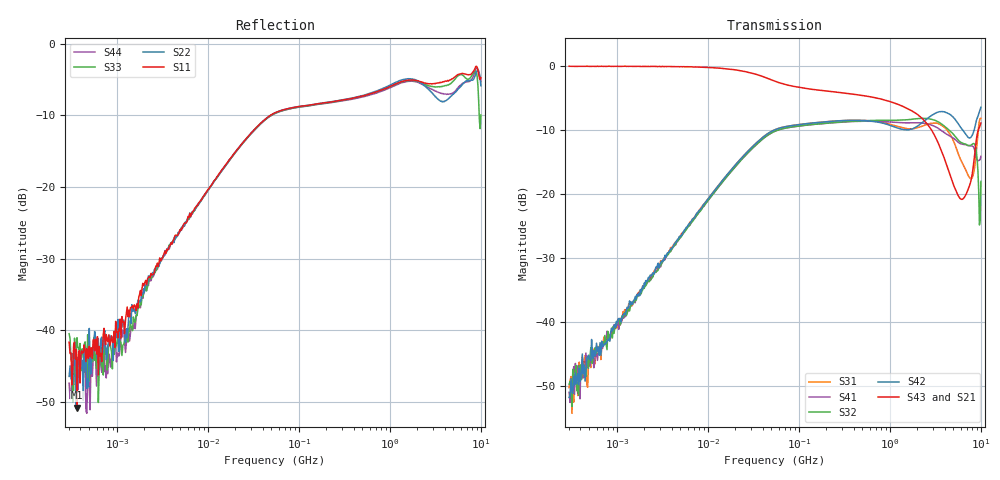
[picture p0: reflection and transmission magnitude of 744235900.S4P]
! This data is being provided by Wuerth Elektronik eiSos GmbH & Co. KG to the industry for analysis.
! Document information:
! Version:rev19a Date: 16/12/2019
! Component information:
! Match Code: WE-CNSW P/N: 744235900 Size: 1812
! Disclaimer:  While Würth Elektronik eiSos has made every reasonable effort to ensure the accuracy
! of the information provided, Würth Elektronik eiSos does not guarantee the exemption of error on the
! data collection measurements, nor does Würth Elektronik eiSos guarantee that the information is current.
! Würth Elektronik eiSos reserves the right to make any adjustments at any time without notice.
! Würth Elektronik eiSos expressly disclaims all implied warranties regarding this measurement data collection.
! Note 1  This data measurement is representative according to the product implementation into the fixture.
! Component behavior is sensitive to implementation into the fixture, which includes board
! materials, trace geometry information, connector pin out, layer connection, use of de-embedding
! techniques, etc.
! Note 2 - The fixture was designed specifically to match the 50 Ohm line impedance, as well as the connector impedance,
! in order to accomplish a reliable measurement without reflections in the trace. Any other implementation of the fixture will change the obtained
! measurement performance. The used fixture behavior was de-embedded to accomplish reliable measurement results.
! The test setup consisted of the following:
!  - Agilent VNA E5071C or E5071B
!  - Calibrations are SOLT (short open load thru)
!  - De-embedding of the SMA's or line cards were included
!  - Equipment Settings -
!  - Sampling - 501 points
!  - IF BW  70 kHz
!  - Averaging  Not used
!  Port 1----->|1|  |2| -----> Port 3
!  |  DUT  |
!  Port 2----->|3|  |4| -----> Port 4
!*VNA Port --> |Port in Datasheet|
! |Port in Datasheet| --> VNA Port
! For further information regarding this testing, please contact
! Wuerth Elektronik eiSos
! Contact: EDA team in QDC
! Email: libraries@we-online.com or libraries@we-online.de
# Hz S dB R 50
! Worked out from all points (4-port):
!   501 points, 300 kHz to 10 GHz, reference 50 ohm
!   strongest paths, dB at 300 kHz, 4.054 MHz, 54.77 MHz, 740.1 MHz, 10 GHz:
!     S43: 0.0, 0.0, -2.3, -5.0, -8.9
!     S21: 0.0, -0.1, -2.4, -5.1, -8.7
!     S42: -51.9, -28.4, -9.9, -8.7, -6.4
!     S32: -49.8, -28.6, -10.2, -8.4, -18.0
!     S41: -51.0, -28.4, -10.2, -8.6, -14.1
!     S31: -50.3, -28.4, -9.9, -8.7, -8.1
!   lowest |S11| = -50.8 dB at 366 kHz (marker M1), VSWR 1.01, Z = 50.2 + j0.234 ohm
!   |S11| at or under -10 dB: start of sweep to 48.53 MHz
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300000  -41.69 67.6  -0.07 -0.0  -51.49 88.8  -53.84 -94.8
        -0.03 -0.4  -46.46 59.4  -48.93 -106.3  -48.72 90.9
        -50.30 87.4  -49.77 -102.4  -40.49 124.5  -0.00 -0.2
        -51.03 -90.3  -51.86 85.9  0.01 -0.2  -47.40 93.4
366013  -50.83 54.1  -0.00 -0.2  -49.97 70.2  -50.25 -88.7
        -0.03 -0.2  -44.89 75.6  -47.39 -93.6  -50.89 111.7
        -47.22 101.8  -50.81 -93.3  -41.06 123.6  -0.02 -0.2
        -47.92 -87.3  -48.78 89.3  -0.00 -0.3  -46.62 135.7
5.477226e7  -9.63 34.1  -2.37 -17.0  -9.92 34.0  -10.15 -148.2
            -2.37 -17.1  -9.64 34.4  -10.15 -148.0  -9.91 34.1
            -9.93 34.0  -10.15 -147.9  -9.71 34.8  -2.33 -16.9
            -10.16 -148.1  -9.91 34.2  -2.33 -16.9  -9.72 34.7
1.617458e9  -5.06 -24.0  -6.93 -82.7  -9.80 -29.3  -8.85 84.7
            -6.93 -82.8  -4.86 -27.4  -8.35 86.2  -9.94 -23.0
            -9.78 -29.4  -8.34 86.2  -5.11 -22.7  -6.72 -81.8
            -8.85 84.6  -9.94 -23.0  -6.72 -81.7  -5.22 -27.2
4.305104e9  -5.10 -74.7  -16.00 148.8  -10.11 -92.9  -10.69 -29.5
            -16.03 148.6  -7.74 -63.7  -9.79 -39.8  -7.35 -84.7
            -10.09 -93.0  -9.78 -39.8  -5.73 -65.6  -15.81 150.3
            -10.71 -30.1  -7.33 -84.6  -15.83 150.0  -7.01 -66.4
8.568892e9  -3.51 -146.2  -13.39 -16.6  -15.65 154.1  -13.11 -143.5
            -13.46 -16.4  -4.57 -122.5  -12.21 -162.0  -9.60 167.5
            -15.63 153.1  -12.23 -163.3  -3.93 -139.2  -13.60 -16.9
            -13.18 -143.4  -9.60 167.1  -13.66 -16.3  -3.98 -126.3
1e10  -4.71 -179.4  -8.63 -88.4  -8.05 -8.0  -14.13 -169.3
      -8.67 -88.4  -5.84 -178.7  -18.24 -131.5  -6.39 78.2
      -8.14 -10.1  -18.01 -126.8  -9.93 -152.6  -9.01 -91.9
      -14.09 -167.6  -6.41 77.8  -8.89 -92.6  -5.27 -163.5
